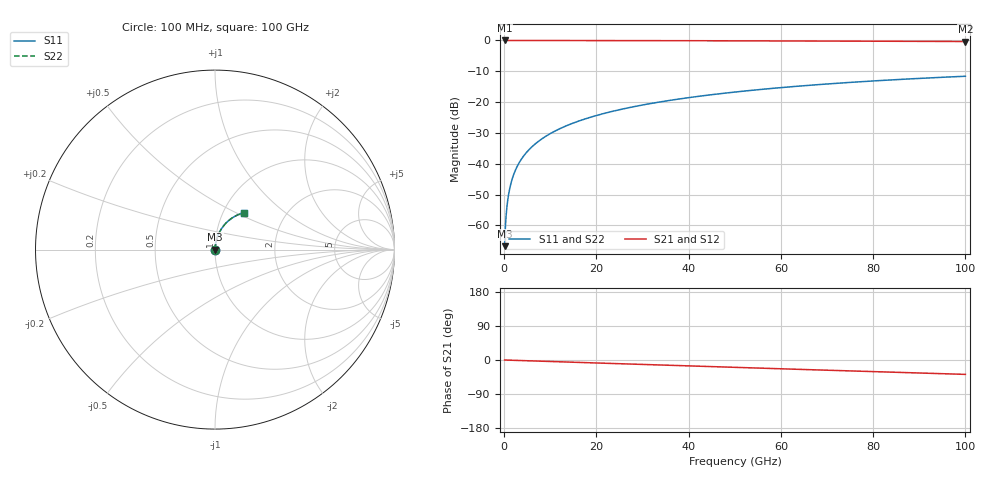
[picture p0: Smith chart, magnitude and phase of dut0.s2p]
! Touchstone file exported from HFSS 2026.1.0
!  File:  C:/ffzhzh/LocalFiles/Ansys_Project_Files/temp_train_TSV_0_1783504044_44152.aedt
!  Generated:  05:49:00 PM Jul  8, 2026
!  Design:  TSV
!  Project:  temp_train_TSV_0_1783504044_44152
! Variables:
!  h_bsmrdl = 2um
!  h_ox = 20um
!  h_rdl = 5um
!  h_sub = 67.39um
!  h_tmrdl = 5um
!  h_tsv = 67.39um
!  h_via = 3um
!  l_bsmrdl = 300um
!  l_sub = 410.62um
!  l_tmrdl = 200um
!  m_sub = 200um
!  pitch = 42.1um
!  r_tsv = 5.31um
!  s_tmrdl = 10um
!  w_bsmrdl = 18um
!  w_sub = 500um
!  w_tmrdl = 12um
!  x_tsv_center1 = 206um
!  x_tsv_center2 = 524um
!  x_tsv_center3 = 736um
!  x_tsv_center4 = 1054um
!  x_tsv_center5 = 1266um
!  x_tsv_center6 = 1584um
# GHz S MA R 50.000000
! Terminal data exported
! Port[1] = TSV1_1_T1
! Port[2] = TSV1_1_T2
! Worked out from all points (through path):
!   1000 points, 100 MHz to 100 GHz, reference 50 ohm
!   highest |S21| = 0.00 dB at 100 MHz (marker M1); lowest = -0.3 dB at 100 GHz (marker M2)
!   group delay of S21, straight-line fit = 1.06 ps
!   lowest |S11| = -66.8 dB at 100 MHz (marker M3), VSWR 1.00, Z = 50 + j0.0342 ohm
!   |S11| at or under -10 dB: start of sweep to end of sweep
!   |S22| runs from -66.8 to -11.6 dB; largest |S21 - S12| = 4.3e-15
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0.1  0.0004596 48.0  0.9997 -0.0  0.9997 -0.0  0.0004596 48.0
! Gamma 0 0 0 0
! Port Impedance 50 0 50 0
0.4  0.001362 75.5  0.9997 -0.2  0.9997 -0.2  0.001362 75.5
0.7  0.002318 80.8  0.9996 -0.3  0.9996 -0.3  0.002318 80.8
0.8  0.002639 81.7  0.9996 -0.3  0.9996 -0.3  0.002639 81.7
1.1  0.003602 83.3  0.9996 -0.4  0.9996 -0.4  0.003602 83.3
1.4  0.004563 84.0  0.9996 -0.6  0.9996 -0.6  0.004563 84.0
1.9  0.006151 84.6  0.9995 -0.8  0.9995 -0.8  0.006151 84.6
2.4  0.007723 84.9  0.9994 -1.0  0.9994 -1.0  0.007723 84.9
3  0.00959 84.9  0.9993 -1.2  0.9993 -1.2  0.00959 84.9
3.8  0.01205 84.9  0.9992 -1.5  0.9992 -1.5  0.01205 84.9
4.8  0.0151 84.8  0.999 -1.9  0.999 -1.9  0.0151 84.8
5.9  0.01844 84.7  0.9989 -2.3  0.9989 -2.3  0.01844 84.7
8.8  0.02719 84.1  0.9985 -3.5  0.9985 -3.5  0.02719 84.1
12.4  0.038 83.0  0.9979 -4.9  0.9979 -4.9  0.038 83.0
16.8  0.0511 81.6  0.9971 -6.6  0.9971 -6.6  0.0511 81.6
24.2  0.07288 79.0  0.9954 -9.5  0.9954 -9.5  0.07288 79.0
33.4  0.09944 75.6  0.9928 -13.1  0.9928 -13.1  0.09944 75.6
41.2  0.1214 72.8  0.9901 -16.1  0.9901 -16.1  0.1214 72.8
50.1  0.1457 69.5  0.9866 -19.5  0.9866 -19.5  0.1457 69.5
66.7  0.1886 63.4  0.979 -25.7  0.979 -25.7  0.1886 63.4
83.4  0.2279 57.3  0.9703 -31.9  0.9703 -31.9  0.2279 57.3
100  0.2626 51.3  0.9613 -38.0  0.9613 -38.0  0.2626 51.3
